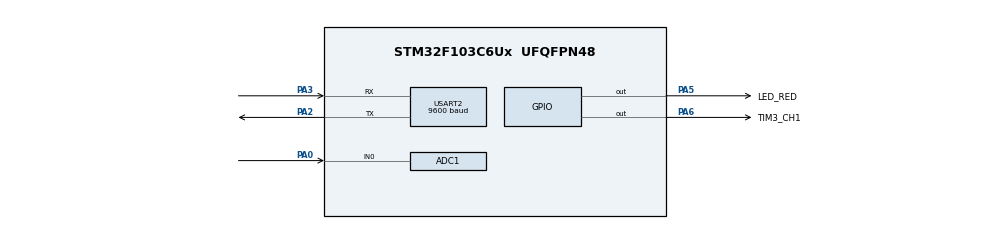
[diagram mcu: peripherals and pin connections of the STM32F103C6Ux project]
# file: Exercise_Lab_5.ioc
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ADC1.Channel-0\#ChannelRegularConversion=ADC_CHANNEL_0
ADC1.ContinuousConvMode=ENABLE
ADC1.NbrOfConversionFlag=1
ADC1.Rank-0\#ChannelRegularConversion=1
ADC1.SamplingTime-0\#ChannelRegularConversion=ADC_SAMPLETIME_1CYCLE_5
ADC1.master=1
Mcu.Family=STM32F1
Mcu.Name=STM32F103C6Ux
Mcu.Package=UFQFPN48
NVIC.ADC1_2_IRQn=true\:0\:0\:false\:false\:true\:true\:true
NVIC.PriorityGroup=NVIC_PRIORITYGROUP_4
NVIC.TIM2_IRQn=true\:0\:0\:false\:false\:true\:true\:true
NVIC.USART2_IRQn=true\:0\:0\:false\:false\:true\:true\:true
PA0-WKUP.Signal=ADCx_IN0
PA2.Mode=Asynchronous
PA2.Signal=USART2_TX
PA3.Mode=Asynchronous
PA3.Signal=USART2_RX
PA5.GPIO_Label=LED_RED
PA5.Signal=GPIO_Output
PA6.GPIO_Label=TIM3_CH1
PA6.Signal=GPIO_Output
ProjectManager.HeapSize=0x200
ProjectManager.StackSize=0x400
ProjectManager.TargetToolchain=STM32CubeIDE
RCC.APB1Freq_Value=8000000
RCC.APB2Freq_Value=8000000
SH.ADCx_IN0.0=ADC1_IN0,IN0
TIM2.Period=9
TIM2.Prescaler=7999
USART2.BaudRate=9600
USART2.VirtualMode=VM_ASYNC
VP_SYS_VS_ND.Mode=No_Debug
VP_TIM2_VS_ClockSourceINT.Mode=Internal
board=custom

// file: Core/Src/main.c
/* USER CODE BEGIN Header */
/**
  ******************************************************************************
  * @file           : main.c
  * @brief          : Main program body
  ******************************************************************************
  * @attention
  *
  * <h2><center>&copy; Copyright (c) 2024 STMicroelectronics.
  * All rights reserved.</center></h2>
  *
  * This software component is licensed by ST under BSD 3-Clause license,
  * the "License"; You may not use this file except in compliance with the
  * License. You may obtain a copy of the License at:
  *                        opensource.org/licenses/BSD-3-Clause
  *
  ******************************************************************************
  */
/* USER CODE END Header */
#include "main.h"

/* USER CODE BEGIN Includes */
#include "global.h"
#include "string.h"
#include "stdio.h"
#include "timer.h"
#include "fsm_command_parser.h"
#include "uart_communication.h"
/* USER CODE END Includes */

ADC_HandleTypeDef hadc1;

TIM_HandleTypeDef htim2;

UART_HandleTypeDef huart2;

void SystemClock_Config(void);
static void MX_GPIO_Init(void);
static void MX_ADC1_Init(void);
static void MX_TIM2_Init(void);
static void MX_USART2_UART_Init(void);

/* USER CODE BEGIN 0 */
void HAL_UART_RxCpltCallback(UART_HandleTypeDef * huart)
{
	if(huart->Instance == USART2)
	{
		buffer[index_buffer++] = temp;
		if(index_buffer == MAX_BUFFER_SIZE)
		index_buffer = 0;
		buffer_flag = 1;
		HAL_UART_Transmit(&huart2, &temp, 1, 50);
		HAL_UART_Receive_IT(&huart2, &temp, 1);
	}
}
/* USER CODE END 0 */

int main(void)
{

  /* MCU Configuration--------------------------------------------------------*/

  /* Reset of all peripherals, Initializes the Flash interface and the Systick. */
  HAL_Init();

  /* Configure the system clock */
  SystemClock_Config();

  /* Initialize all configured peripherals */
  MX_GPIO_Init();
  MX_ADC1_Init();
  MX_TIM2_Init();
  MX_USART2_UART_Init();
  /* USER CODE BEGIN 2 */
  HAL_TIM_Base_Start_IT(&htim2);
  HAL_UART_Receive_IT(&huart2, &temp, 1);
  /* USER CODE END 2 */

  /* Infinite loop */
  /* USER CODE BEGIN WHILE */
  setTimer(0, 1000);
  clearTimer(1);
  while (1)
  {
    /* USER CODE END WHILE */
	  if (timer_flag[0] == 1)
	  {
		  //HAL_GPIO_TogglePin(LED_RED_GPIO_Port, LED_RED_Pin);
		  HAL_GPIO_WritePin ( LED_RED_GPIO_Port , LED_RED_Pin , SET );
	  }
	  // If received byte, call command_parser_fsm function
	  if (buffer_flag == 1)
	  {
		  command_parser_fsm();
		  buffer_flag = 0;
	  }
	  // uart_communiation_fsm function
	  uart_communiation_fsm(hadc1, huart2);
  }
}

void SystemClock_Config(void)
{
  RCC_OscInitTypeDef RCC_OscInitStruct = {0};
  RCC_ClkInitTypeDef RCC_ClkInitStruct = {0};
  RCC_PeriphCLKInitTypeDef PeriphClkInit = {0};

  /** Initializes the RCC Oscillators according to the specified parameters
  * in the RCC_OscInitTypeDef structure.
  */
  RCC_OscInitStruct.OscillatorType = RCC_OSCILLATORTYPE_HSI;
  RCC_OscInitStruct.HSIState = RCC_HSI_ON;
  RCC_OscInitStruct.HSICalibrationValue = RCC_HSICALIBRATION_DEFAULT;
  RCC_OscInitStruct.PLL.PLLState = RCC_PLL_NONE;
  if (HAL_RCC_OscConfig(&RCC_OscInitStruct) != HAL_OK)
  {
    Error_Handler();
  }
  /** Initializes the CPU, AHB and APB buses clocks
  */
  RCC_ClkInitStruct.ClockType = RCC_CLOCKTYPE_HCLK|RCC_CLOCKTYPE_SYSCLK
                              |RCC_CLOCKTYPE_PCLK1|RCC_CLOCKTYPE_PCLK2;
  RCC_ClkInitStruct.SYSCLKSource = RCC_SYSCLKSOURCE_HSI;
  RCC_ClkInitStruct.AHBCLKDivider = RCC_SYSCLK_DIV1;
  RCC_ClkInitStruct.APB1CLKDivider = RCC_HCLK_DIV1;
  RCC_ClkInitStruct.APB2CLKDivider = RCC_HCLK_DIV1;

  if (HAL_RCC_ClockConfig(&RCC_ClkInitStruct, FLASH_LATENCY_0) != HAL_OK)
  {
    Error_Handler();
  }
  PeriphClkInit.PeriphClockSelection = RCC_PERIPHCLK_ADC;
  PeriphClkInit.AdcClockSelection = RCC_ADCPCLK2_DIV2;
  if (HAL_RCCEx_PeriphCLKConfig(&PeriphClkInit) != HAL_OK)
  {
    Error_Handler();
  }
}

static void MX_ADC1_Init(void)
{

  ADC_ChannelConfTypeDef sConfig = {0};

  /** Common config
  */
  hadc1.Instance = ADC1;
  hadc1.Init.ScanConvMode = ADC_SCAN_DISABLE;
  hadc1.Init.ContinuousConvMode = ENABLE;
  hadc1.Init.DiscontinuousConvMode = DISABLE;
  hadc1.Init.ExternalTrigConv = ADC_SOFTWARE_START;
  hadc1.Init.DataAlign = ADC_DATAALIGN_RIGHT;
  hadc1.Init.NbrOfConversion = 1;
  if (HAL_ADC_Init(&hadc1) != HAL_OK)
  {
    Error_Handler();
  }
  /** Configure Regular Channel
  */
  sConfig.Channel = ADC_CHANNEL_0;
  sConfig.Rank = ADC_REGULAR_RANK_1;
  sConfig.SamplingTime = ADC_SAMPLETIME_1CYCLE_5;
  if (HAL_ADC_ConfigChannel(&hadc1, &sConfig) != HAL_OK)
  {
    Error_Handler();
  }

}

static void MX_TIM2_Init(void)
{

  TIM_ClockConfigTypeDef sClockSourceConfig = {0};
  TIM_MasterConfigTypeDef sMasterConfig = {0};

  htim2.Instance = TIM2;
  htim2.Init.Prescaler = 7999;
  htim2.Init.CounterMode = TIM_COUNTERMODE_UP;
  htim2.Init.Period = 9;
  htim2.Init.ClockDivision = TIM_CLOCKDIVISION_DIV1;
  htim2.Init.AutoReloadPreload = TIM_AUTORELOAD_PRELOAD_DISABLE;
  if (HAL_TIM_Base_Init(&htim2) != HAL_OK)
  {
    Error_Handler();
  }
  sClockSourceConfig.ClockSource = TIM_CLOCKSOURCE_INTERNAL;
  if (HAL_TIM_ConfigClockSource(&htim2, &sClockSourceConfig) != HAL_OK)
  {
    Error_Handler();
  }
  sMasterConfig.MasterOutputTrigger = TIM_TRGO_RESET;
  sMasterConfig.MasterSlaveMode = TIM_MASTERSLAVEMODE_DISABLE;
  if (HAL_TIMEx_MasterConfigSynchronization(&htim2, &sMasterConfig) != HAL_OK)
  {
    Error_Handler();
  }
  /* USER CODE BEGIN TIM2_Init 2 */
  TIME_CYCLE = 1/(8e6/(htim2.Init.Prescaler + 1)/(htim2.Init.Period + 1)) * 1000; // Time cycle
  /* USER CODE END TIM2_Init 2 */

}

static void MX_USART2_UART_Init(void)
{

  huart2.Instance = USART2;
  huart2.Init.BaudRate = 9600;
  huart2.Init.WordLength = UART_WORDLENGTH_8B;
  huart2.Init.StopBits = UART_STOPBITS_1;
  huart2.Init.Parity = UART_PARITY_NONE;
  huart2.Init.Mode = UART_MODE_TX_RX;
  huart2.Init.HwFlowCtl = UART_HWCONTROL_NONE;
  huart2.Init.OverSampling = UART_OVERSAMPLING_16;
  if (HAL_UART_Init(&huart2) != HAL_OK)
  {
    Error_Handler();
  }

}

static void MX_GPIO_Init(void)
{
  GPIO_InitTypeDef GPIO_InitStruct = {0};

  /* GPIO Ports Clock Enable */
  __HAL_RCC_GPIOA_CLK_ENABLE();

  /*Configure GPIO pin Output Level */
  HAL_GPIO_WritePin(GPIOA, LED_RED_Pin|TIM3_CH1_Pin, GPIO_PIN_RESET);

  /*Configure GPIO pins : LED_RED_Pin TIM3_CH1_Pin */
  GPIO_InitStruct.Pin = LED_RED_Pin|TIM3_CH1_Pin;
  GPIO_InitStruct.Mode = GPIO_MODE_OUTPUT_PP;
  GPIO_InitStruct.Pull = GPIO_NOPULL;
  GPIO_InitStruct.Speed = GPIO_SPEED_FREQ_LOW;
  HAL_GPIO_Init(GPIOA, &GPIO_InitStruct);

}

/* USER CODE BEGIN 4 */
void HAL_TIM_PeriodElapsedCallback(TIM_HandleTypeDef *htim)
{
	timerRun();
}
/* USER CODE END 4 */

void Error_Handler(void)
{
  __disable_irq();
  while (1)
  {
  }
}

/************************ (C) COPYRIGHT STMicroelectronics *****END OF FILE****/
